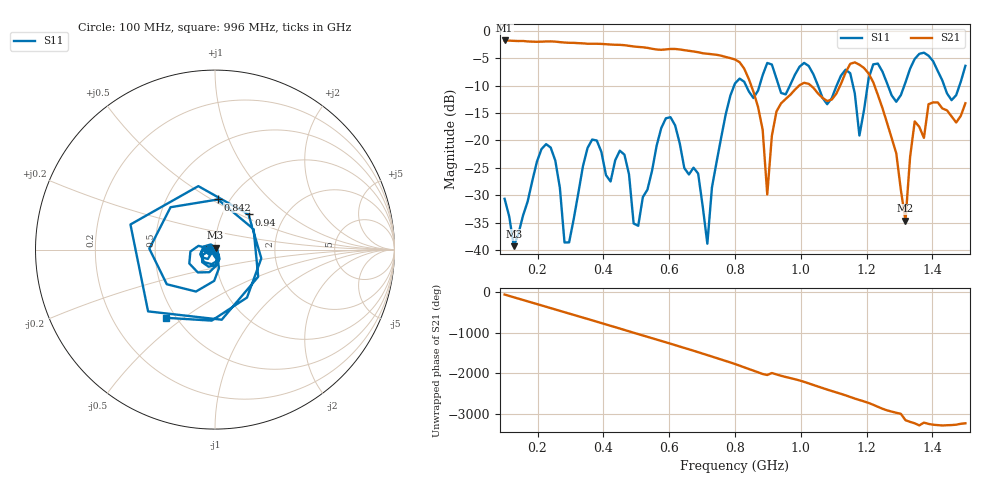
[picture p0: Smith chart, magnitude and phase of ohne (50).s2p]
! NanoVNA-App
! Date: 2025-09-26 09:55:47
! Start: 100MHz Stop: 1,5GHz Points: 101
! S-Parameter data: F S11 S21 S12 S22
# Hz S RI R 50
!  Frequency  S11_Real  S11_Imag  S21_Real  S21_Imag  S12_Real  S12_Imag  S22_Real  S22_Imag
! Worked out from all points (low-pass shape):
!   101 points, 100 MHz to 1.5 GHz, reference 50 ohm
!   highest |S21| = -1.79 dB at 100 MHz (marker M1); lowest = -34.6 dB at 1.318 GHz (marker M2)
!   |S21| within 3 dB of the highest: start of sweep to 771.4 MHz
!   lowest |S11| = -39.3 dB at 128 MHz (marker M3), VSWR 1.02, Z = 50.3 + j1.06 ohm
!   |S11| at or under -10 dB: start of sweep to 797.5 MHz; 833.5 MHz to 874.6 MHz (41.15 MHz wide, 4.82 % of centre); 1.052 GHz to 1.109 GHz (56.7 MHz wide, 5.25 % of centre) (the widest 3 of 7)
!   S12 and S22 are empty: the file has one direction only
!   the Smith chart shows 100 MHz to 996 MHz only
!   S11 on the Smith chart (normalised r, x): 100 MHz: 0.94, -0.01; 842 MHz: 0.88, +0.53; 940 MHz: 1.32, +0.56; 996 MHz: 0.44, -0.43
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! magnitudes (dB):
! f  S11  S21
! 100 MHz  -30.6  -1.8
! 128 MHz  -39.3  -1.9
! 212 MHz  -21.6  -2.0
! 282 MHz  -38.6  -2.2
! 338 MHz  -24.7  -2.3
! 464 MHz  -22.6  -2.6
! 506 MHz  -35.5  -3.0
! 576 MHz  -17.7  -3.5
! 716 MHz  -38.8  -4.2
! 800 MHz  -9.6  -5.3
! 842 MHz  -11.1  -8.8
! 898 MHz  -5.9  -29.8
! 940 MHz  -11.3  -13.2
! 996 MHz  -6.6  -9.9
! 1.038 GHz  -7.9  -10.4
! 1.15 GHz  -7.7  -6.1
! 1.178 GHz  -19.1  -6.2
! 1.22 GHz  -6.1  -9.4
! 1.276 GHz  -11.8  -19.6
! 1.318 GHz  -9.4  -34.6
! 1.346 GHz  -5.2  -16.5
! 1.5 GHz  -6.4  -13.2
